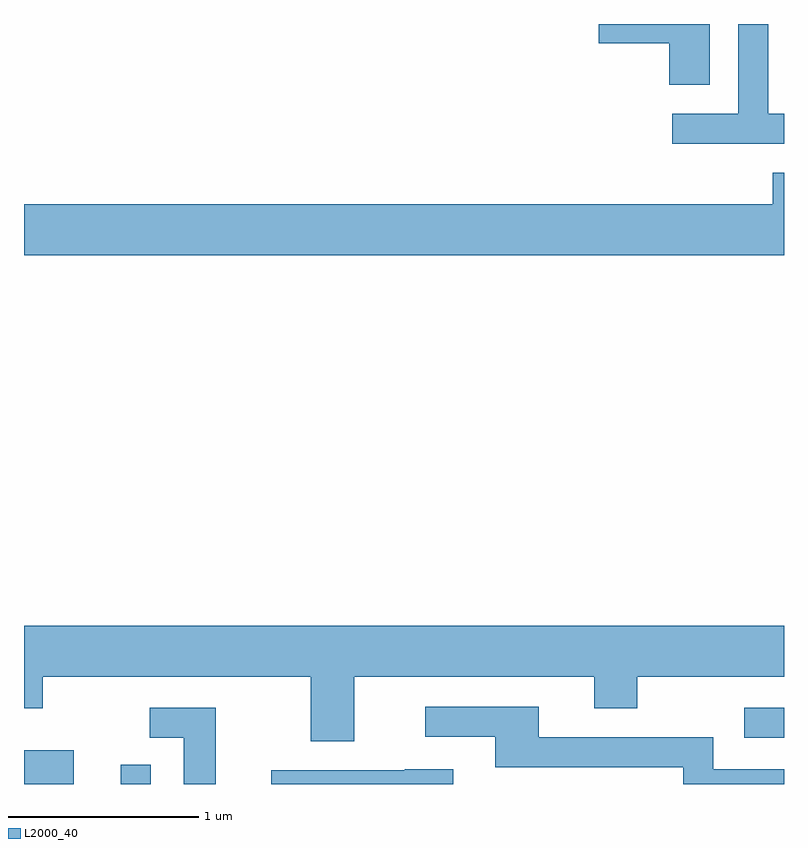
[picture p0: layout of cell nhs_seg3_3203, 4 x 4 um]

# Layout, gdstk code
import gdstk
lib = gdstk.Library(unit=1e-6, precision=1e-09)
def R(c, l, rs):  # rectangles x0, y0, x1, y1
    for r in rs: c.add(gdstk.rectangle(r[:2], r[2:], *l))
def P(c, l, *ps):  # polygons
    for p in ps: c.add(gdstk.Polygon(p, *l))
L2000_40 = (2000, 40)

nhs_seg3_3203 = lib.new_cell('nhs_seg3_3203')
R(nhs_seg3_3203, L2000_40, [(279.611,1129.892,279.874,1130.069), (280.121,1129.892,280.279,1129.993), (283.403,1130.136,283.611,1130.294)])
P(nhs_seg3_3203, L2000_40, [(283.611,1133.419),(283.529,1133.419),(283.529,1133.892),(283.371,1133.892),(283.371,1133.419),(283.023,1133.419),(283.023,1133.261),(283.611,1133.261)],
  [(283.219,1133.892),(282.636,1133.892),(282.636,1133.791),(283.006,1133.791),(283.006,1133.571),(283.219,1133.571)],
  [(283.611,1133.109),(283.551,1133.109),(283.551,1132.944),(279.611,1132.944),(279.611,1132.676),(283.611,1132.676)],
  [(281.349,1130.456),(282.611,1130.456),(282.611,1130.291),(282.839,1130.291),(282.839,1130.456),(283.611,1130.456),(283.611,1130.724),(279.611,1130.724),(279.611,1130.291),(279.709,1130.291),(279.709,1130.456),(281.121,1130.456),(281.121,1130.116),(281.349,1130.116)],
  [(283.611,1129.969),(283.239,1129.969),(283.239,1130.139),(282.319,1130.139),(282.319,1130.299),(281.723,1130.299),(281.723,1130.141),(282.091,1130.141),(282.091,1129.981),(283.081,1129.981),(283.081,1129.892),(283.611,1129.892)],
  [(280.619,1130.294),(280.273,1130.294),(280.273,1130.136),(280.451,1130.136),(280.451,1129.892),(280.619,1129.892)],
  [(281.869,1129.969),(281.615,1129.969),(281.615,1129.964),(280.911,1129.964),(280.911,1129.892),(281.869,1129.892)])

lib.write_gds('nhs_seg3_3203.gds')
